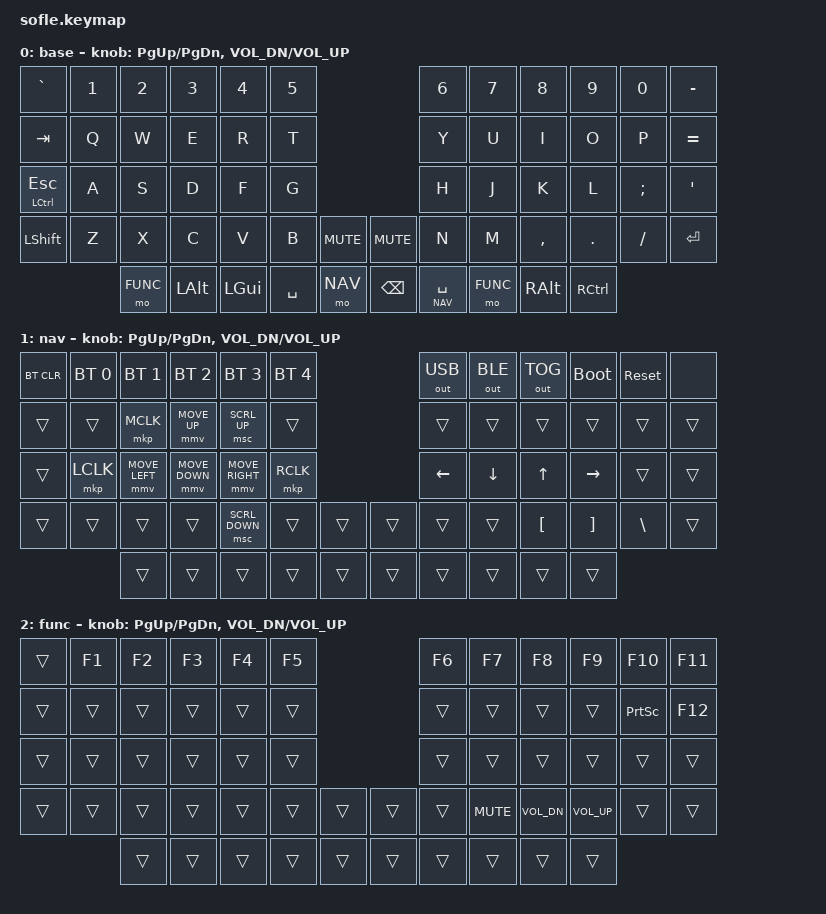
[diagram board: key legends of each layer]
#include <behaviors.dtsi>
#include <dt-bindings/zmk/bt.h>
#include <dt-bindings/zmk/keys.h>
#include <dt-bindings/zmk/outputs.h>

#define ZMK_POINTING_DEFAULT_MOVE_VAL 4000
#include <dt-bindings/zmk/pointing.h>

#define BASE 0
#define NAV 1
#define FUNC 2

#define XCAPE  &mt LCTRL ESC
#define NAVSPC &navspc NAV SPACE

&mmv {
    trigger-period-ms = <20>;
    time-to-max-speed-ms = <400>;
};

/ {
    behaviors {
        navspc: nav_space {
            compatible = "zmk,behavior-hold-tap";
            #binding-cells = <2>;
            flavor = "hold-preferred";
            tapping-term-ms = <200>;
            quick-tap-ms = <0>;
            bindings = <&mo>, <&kp>;
            display-name = "Nav Space";
        };
    };

    keymap {
        compatible = "zmk,keymap";

        default_layer {
            display-name = "base";

            bindings = <
&kp GRAVE     &kp N1       &kp N2         &kp N3          &kp N4           &kp N5                              &kp N6       &kp N7       &kp N8       &kp N9       &kp N0       &kp MINUS
&kp TAB       &kp Q        &kp W          &kp E           &kp R            &kp T                               &kp Y        &kp U        &kp I        &kp O        &kp P        &kp EQUAL
XCAPE         &kp A        &kp S          &kp D           &kp F            &kp G                               &kp H        &kp J        &kp K        &kp L        &kp SEMI     &kp SQT
&kp LSHFT     &kp Z        &kp X          &kp C           &kp V            &kp B       &kp C_MUTE  &kp C_MUTE  &kp N        &kp M        &kp COMMA    &kp DOT      &kp FSLH     &kp RET
                           &mo FUNC       &kp LALT        &kp LGUI         &kp SPACE   &mo NAV     &kp BSPC    NAVSPC       &mo FUNC     &kp RALT     &kp RCTRL
            >;

            sensor-bindings = <&inc_dec_kp PG_UP PG_DN>, <&inc_dec_kp C_VOL_DN C_VOL_UP>;
        };

        nav_layer {
            display-name = "nav";

            bindings = <
&bt BT_CLR    &bt BT_SEL 0 &bt BT_SEL 1   &bt BT_SEL 2    &bt BT_SEL 3     &bt BT_SEL 4                        &out OUT_USB &out OUT_BLE &out OUT_TOG &bootloader  &sys_reset   &none
&trans        &trans       &mkp MCLK      &mmv MOVE_UP    &msc SCRL_UP     &trans                              &trans       &trans       &trans       &trans       &trans       &trans
&trans        &mkp LCLK    &mmv MOVE_LEFT &mmv MOVE_DOWN  &mmv MOVE_RIGHT  &mkp RCLK                           &kp LEFT     &kp DOWN     &kp UP       &kp RIGHT    &trans       &trans
&trans        &trans       &trans         &trans          &msc SCRL_DOWN   &trans      &trans      &trans      &trans       &trans       &kp LBKT     &kp RBKT     &kp BSLH     &trans
                           &trans         &trans          &trans           &trans      &trans      &trans      &trans       &trans       &trans       &trans
            >;

            sensor-bindings = <&inc_dec_kp PG_UP PG_DN>, <&inc_dec_kp C_VOL_DN C_VOL_UP>;
        };

        func_layer {
            display-name = "func";

            bindings = <
&trans        &kp F1       &kp F2         &kp F3          &kp F4           &kp F5                              &kp F6       &kp F7       &kp F8       &kp F9       &kp F10      &kp F11
&trans        &trans       &trans         &trans          &trans           &trans                              &trans       &trans       &trans       &trans       &kp PSCRN    &kp F12
&trans        &trans       &trans         &trans          &trans           &trans                              &trans       &trans       &trans       &trans       &trans       &trans
&trans        &trans       &trans         &trans          &trans           &trans      &trans      &trans      &trans       &kp C_MUTE   &kp C_VOL_DN &kp C_VOL_UP &trans       &trans
                           &trans         &trans          &trans           &trans      &trans      &trans      &trans       &trans       &trans       &trans
            >;

            sensor-bindings = <&inc_dec_kp PG_UP PG_DN>, <&inc_dec_kp C_VOL_DN C_VOL_UP>;
        };

    };
};
